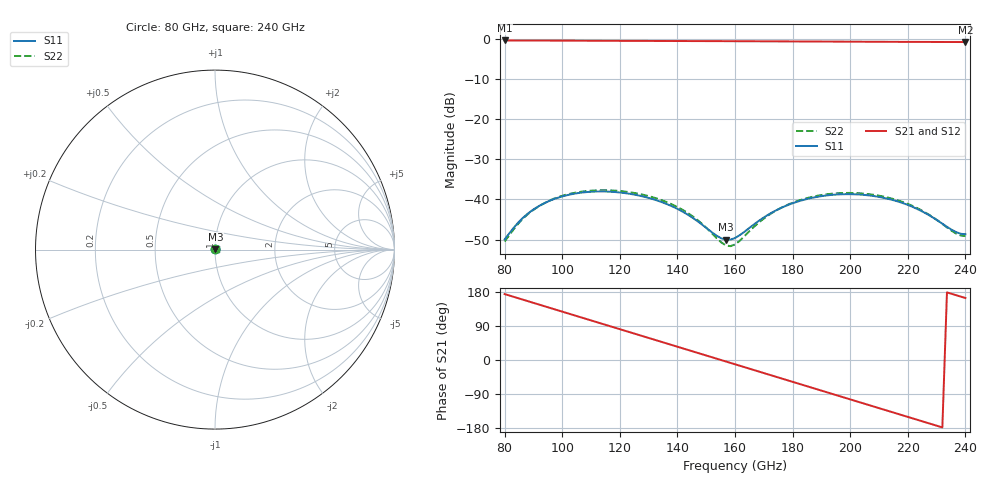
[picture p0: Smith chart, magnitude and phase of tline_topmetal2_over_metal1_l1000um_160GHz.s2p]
#  GHZ S DB R 50
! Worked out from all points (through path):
!   101 points, 80 GHz to 240 GHz, reference 50 ohm
!   highest |S21| = -0.48 dB at 80 GHz (marker M1); lowest = -0.9 dB at 240 GHz (marker M2)
!   group delay of S21, straight-line fit = 6.43 ps
!   lowest |S11| = -50.1 dB at 156.8 GHz (marker M3), VSWR 1.01, Z = 50.2 + j0.236 ohm
!   |S11| at or under -10 dB: start of sweep to end of sweep
!   |S22| runs from -51.7 to -37.7 dB; largest |S21 - S12| = 1.6e-14
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80  -49.98 30.4  -0.48 174.0  -0.48 174.0  -50.50 33.8
86.4  -44.58 -19.0  -0.50 159.2  -0.50 159.2  -44.79 -18.8
91.2  -41.98 -40.6  -0.51 148.0  -0.51 148.0  -42.05 -40.6
99.2  -39.45 -69.6  -0.53 129.5  -0.53 129.5  -39.31 -69.3
107.2  -38.29 -95.8  -0.55 111.0  -0.55 111.0  -38.06 -95.1
113.6  -38.05 -116.0  -0.56 96.2  -0.56 96.2  -37.74 -114.8
120  -38.30 -136.0  -0.58 81.4  -0.58 81.4  -37.94 -134.0
126.4  -39.02 -156.1  -0.59 66.5  -0.59 66.5  -38.60 -153.3
134.4  -40.65 177.4  -0.61 48.0  -0.61 48.0  -40.18 -178.3
145.6  -44.74 132.5  -0.64 22.1  -0.64 22.1  -44.40 140.5
156.8  -50.06 48.5  -0.66 -3.9  -0.66 -3.9  -51.45 57.6
160  -49.63 15.4  -0.67 -11.3  -0.67 -11.3  -51.23 18.0
172.8  -43.30 -66.0  -0.71 -40.9  -0.71 -40.9  -43.41 -67.5
180.8  -40.79 -96.8  -0.73 -59.5  -0.73 -59.5  -40.63 -97.0
187.2  -39.57 -118.7  -0.75 -74.3  -0.75 -74.3  -39.32 -118.0
193.6  -38.90 -139.5  -0.77 -89.1  -0.77 -89.1  -38.61 -138.1
200  -38.72 -159.9  -0.78 -103.9  -0.78 -103.9  -38.41 -157.9
206.4  -39.02 179.6  -0.80 -118.7  -0.80 -118.7  -38.71 -177.8
214.4  -40.10 153.3  -0.82 -137.2  -0.82 -137.2  -39.81 156.6
227.2  -43.88 103.8  -0.85 -166.8  -0.85 -166.8  -43.75 108.5
236.8  -48.17 42.2  -0.88 171.0  -0.88 171.0  -48.52 46.5
240  -48.70 12.3  -0.88 163.6  -0.88 163.6  -49.16 14.8
